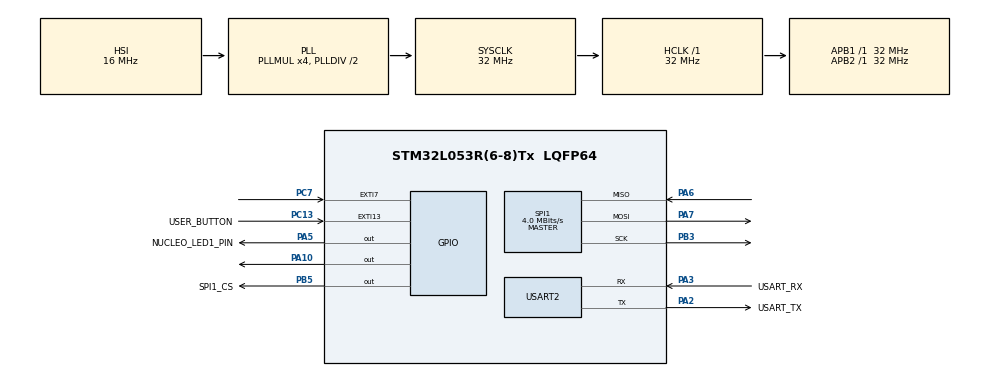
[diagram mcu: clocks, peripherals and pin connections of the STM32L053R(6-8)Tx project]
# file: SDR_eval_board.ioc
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Mcu.Family=STM32L0
Mcu.Name=STM32L053R(6-8)Tx
Mcu.Package=LQFP64
NVIC.EXTI4_15_IRQn=true\:0\:0\:false\:false\:true\:true\:true
NVIC.TIM2_IRQn=true\:0\:0\:false\:false\:true\:true\:true
PA10.GPIO_Speed=GPIO_SPEED_FREQ_HIGH
PA10.Signal=GPIO_Output
PA13.GPIO_Label=TMS
PA13.Mode=Serial_Wire
PA13.Signal=SYS_SWDIO
PA14.GPIO_Label=TCK
PA14.Mode=Serial_Wire
PA14.Signal=SYS_SWCLK
PA2.GPIO_Label=USART_TX
PA2.Mode=Asynchronous
PA2.Signal=USART2_TX
PA3.GPIO_Label=USART_RX
PA3.Mode=Asynchronous
PA3.Signal=USART2_RX
PA5.GPIO_Label=NUCLEO_LED1_PIN
PA5.Signal=GPIO_Output
PA6.Mode=Full_Duplex_Master
PA6.Signal=SPI1_MISO
PA7.Mode=Full_Duplex_Master
PA7.Signal=SPI1_MOSI
PB3.Mode=Full_Duplex_Master
PB3.Signal=SPI1_SCK
PB5.GPIO_Label=SPI1_CS
PB5.Signal=GPIO_Output
PC13.GPIO_Label=USER_BUTTON
PC13.GPIO_ModeDefaultEXTI=GPIO_MODE_IT_FALLING
PC13.Signal=GPXTI13
PC7.GPIO_ModeDefaultEXTI=GPIO_MODE_IT_FALLING
PC7.Signal=GPXTI7
ProjectManager.HeapSize=0x200
ProjectManager.StackSize=0x400
ProjectManager.TargetToolchain=STM32CubeIDE
RCC.AHBFreq_Value=32000000
RCC.APB1Freq_Value=32000000
RCC.APB1TimFreq_Value=32000000
RCC.APB2Freq_Value=32000000
RCC.APB2TimFreq_Value=32000000
RCC.HCLKFreq_Value=32000000
RCC.HSE_VALUE=8000000
RCC.HSI16_VALUE=16000000
RCC.HSI48_VALUE=48000000
RCC.HSI_VALUE=16000000
RCC.LSE_VALUE=32768
RCC.MSI_VALUE=2097000
RCC.PLLMUL=RCC_PLLMUL_4
RCC.SYSCLKFreq_VALUE=32000000
RCC.SYSCLKSource=RCC_SYSCLKSOURCE_PLLCLK
RCC.VCOOutputFreq_Value=64000000
SPI1.BaudRatePrescaler=SPI_BAUDRATEPRESCALER_8
SPI1.CalculateBaudRate=4.0 MBits/s
SPI1.Direction=SPI_DIRECTION_2LINES
SPI1.Mode=SPI_MODE_MASTER
SPI1.VirtualType=VM_MASTER
TIM2.Period=99
TIM2.Prescaler=31999
USART2.VirtualMode-Asynchronous=VM_ASYNC
VP_TIM2_VS_ClockSourceINT.Mode=Internal
board=NUCLEO-L053R8

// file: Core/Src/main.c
/* USER CODE BEGIN Header */
/**
  ******************************************************************************
  * @file           : main.c
  * @brief          : Main program body
  ******************************************************************************
  * @attention
  *
  * <h2><center>&copy; Copyright (c) 2020 STMicroelectronics.
  * All rights reserved.</center></h2>
  *
  * This software component is licensed by ST under BSD 3-Clause license,
  * the "License"; You may not use this file except in compliance with the
  * License. You may obtain a copy of the License at:
  *                        opensource.org/licenses/BSD-3-Clause
  *
  ******************************************************************************
  */
/* USER CODE END Header */
#include "main.h"

/* USER CODE BEGIN Includes */
#include "cube_hal.h"
#include "radio_shield_config.h"
#include "radio_appli.h"

#include "fsm.h"

/* USER CODE END Includes */

SPI_HandleTypeDef hspi1;

TIM_HandleTypeDef htim2;

UART_HandleTypeDef huart2;

/* USER CODE BEGIN PV */
uint32_t Rx_count;
/* USER CODE END PV */

void SystemClock_Config(void);
static void MX_GPIO_Init(void);
static void MX_USART2_UART_Init(void);
static void MX_SPI1_Init(void);
static void MX_TIM2_Init(void);
/* USER CODE BEGIN PFP */

void Clock_Enable(void);

/* USER CODE END PFP */

int main(void)
{

  /* MCU Configuration--------------------------------------------------------*/

  /* Reset of all peripherals, Initializes the Flash interface and the Systick. */
  HAL_Init();

  /* USER CODE BEGIN Init */
  Clock_Enable();

  /* USER CODE END Init */

  /* Configure the system clock */
  SystemClock_Config();

  /* Initialize all configured peripherals */
  MX_GPIO_Init();
  MX_USART2_UART_Init();
  MX_SPI1_Init();
  MX_TIM2_Init();
  /* USER CODE BEGIN 2 */
  /* Initialize LEDs*/
#if defined(X_NUCLEO_IDS01A4) || defined(X_NUCLEO_IDS01A5)
  RadioShieldLedInit(RADIO_SHIELD_LED);
#endif
  BSP_LED_Init(LED2);
  HAL_Radio_Init();
  P2P_Init();
  HAL_TIM_OC_Start_IT(&htim2,0);

  /* USER CODE END 2 */

  /* Infinite loop */
  while (1)
  {

    /* USER CODE BEGIN 3 */
	P2P_Process();
  }
  /* USER CODE END 3 */
}

void SystemClock_Config(void)
{
  RCC_OscInitTypeDef RCC_OscInitStruct = {0};
  RCC_ClkInitTypeDef RCC_ClkInitStruct = {0};
  RCC_PeriphCLKInitTypeDef PeriphClkInit = {0};

  /** Configure the main internal regulator output voltage
  */
  __HAL_PWR_VOLTAGESCALING_CONFIG(PWR_REGULATOR_VOLTAGE_SCALE1);
  /** Initializes the RCC Oscillators according to the specified parameters
  * in the RCC_OscInitTypeDef structure.
  */
  RCC_OscInitStruct.OscillatorType = RCC_OSCILLATORTYPE_HSI;
  RCC_OscInitStruct.HSIState = RCC_HSI_ON;
  RCC_OscInitStruct.HSICalibrationValue = RCC_HSICALIBRATION_DEFAULT;
  RCC_OscInitStruct.PLL.PLLState = RCC_PLL_ON;
  RCC_OscInitStruct.PLL.PLLSource = RCC_PLLSOURCE_HSI;
  RCC_OscInitStruct.PLL.PLLMUL = RCC_PLLMUL_4;
  RCC_OscInitStruct.PLL.PLLDIV = RCC_PLLDIV_2;
  if (HAL_RCC_OscConfig(&RCC_OscInitStruct) != HAL_OK)
  {
    Error_Handler();
  }
  /** Initializes the CPU, AHB and APB buses clocks
  */
  RCC_ClkInitStruct.ClockType = RCC_CLOCKTYPE_HCLK|RCC_CLOCKTYPE_SYSCLK
                              |RCC_CLOCKTYPE_PCLK1|RCC_CLOCKTYPE_PCLK2;
  RCC_ClkInitStruct.SYSCLKSource = RCC_SYSCLKSOURCE_PLLCLK;
  RCC_ClkInitStruct.AHBCLKDivider = RCC_SYSCLK_DIV1;
  RCC_ClkInitStruct.APB1CLKDivider = RCC_HCLK_DIV1;
  RCC_ClkInitStruct.APB2CLKDivider = RCC_HCLK_DIV1;

  if (HAL_RCC_ClockConfig(&RCC_ClkInitStruct, FLASH_LATENCY_1) != HAL_OK)
  {
    Error_Handler();
  }
  PeriphClkInit.PeriphClockSelection = RCC_PERIPHCLK_USART2;
  PeriphClkInit.Usart2ClockSelection = RCC_USART2CLKSOURCE_PCLK1;
  if (HAL_RCCEx_PeriphCLKConfig(&PeriphClkInit) != HAL_OK)
  {
    Error_Handler();
  }
}

static void MX_SPI1_Init(void)
{

  /* SPI1 parameter configuration*/
  hspi1.Instance = SPI1;
  hspi1.Init.Mode = SPI_MODE_MASTER;
  hspi1.Init.Direction = SPI_DIRECTION_2LINES;
  hspi1.Init.DataSize = SPI_DATASIZE_8BIT;
  hspi1.Init.CLKPolarity = SPI_POLARITY_LOW;
  hspi1.Init.CLKPhase = SPI_PHASE_1EDGE;
  hspi1.Init.NSS = SPI_NSS_SOFT;
  hspi1.Init.BaudRatePrescaler = SPI_BAUDRATEPRESCALER_8;
  hspi1.Init.FirstBit = SPI_FIRSTBIT_MSB;
  hspi1.Init.TIMode = SPI_TIMODE_DISABLE;
  hspi1.Init.CRCCalculation = SPI_CRCCALCULATION_DISABLE;
  hspi1.Init.CRCPolynomial = 7;
  if (HAL_SPI_Init(&hspi1) != HAL_OK)
  {
    Error_Handler();
  }

}

static void MX_TIM2_Init(void)
{

  TIM_ClockConfigTypeDef sClockSourceConfig = {0};
  TIM_MasterConfigTypeDef sMasterConfig = {0};

  htim2.Instance = TIM2;
  htim2.Init.Prescaler = 31999;
  htim2.Init.CounterMode = TIM_COUNTERMODE_UP;
  htim2.Init.Period = 99;
  htim2.Init.ClockDivision = TIM_CLOCKDIVISION_DIV1;
  htim2.Init.AutoReloadPreload = TIM_AUTORELOAD_PRELOAD_DISABLE;
  if (HAL_TIM_Base_Init(&htim2) != HAL_OK)
  {
    Error_Handler();
  }
  sClockSourceConfig.ClockSource = TIM_CLOCKSOURCE_INTERNAL;
  if (HAL_TIM_ConfigClockSource(&htim2, &sClockSourceConfig) != HAL_OK)
  {
    Error_Handler();
  }
  sMasterConfig.MasterOutputTrigger = TIM_TRGO_RESET;
  sMasterConfig.MasterSlaveMode = TIM_MASTERSLAVEMODE_DISABLE;
  if (HAL_TIMEx_MasterConfigSynchronization(&htim2, &sMasterConfig) != HAL_OK)
  {
    Error_Handler();
  }

}

static void MX_USART2_UART_Init(void)
{

  huart2.Instance = USART2;
  huart2.Init.BaudRate = 115200;
  huart2.Init.WordLength = UART_WORDLENGTH_8B;
  huart2.Init.StopBits = UART_STOPBITS_1;
  huart2.Init.Parity = UART_PARITY_NONE;
  huart2.Init.Mode = UART_MODE_TX_RX;
  huart2.Init.HwFlowCtl = UART_HWCONTROL_NONE;
  huart2.Init.OverSampling = UART_OVERSAMPLING_16;
  huart2.Init.OneBitSampling = UART_ONE_BIT_SAMPLE_DISABLE;
  huart2.AdvancedInit.AdvFeatureInit = UART_ADVFEATURE_NO_INIT;
  if (HAL_UART_Init(&huart2) != HAL_OK)
  {
    Error_Handler();
  }

}

static void MX_GPIO_Init(void)
{
  GPIO_InitTypeDef GPIO_InitStruct = {0};

  /* GPIO Ports Clock Enable */
  __HAL_RCC_GPIOC_CLK_ENABLE();
  __HAL_RCC_GPIOA_CLK_ENABLE();
  __HAL_RCC_GPIOB_CLK_ENABLE();

  /*Configure GPIO pin Output Level */
  HAL_GPIO_WritePin(GPIOA, NUCLEO_LED1_PIN_Pin|GPIO_PIN_10, GPIO_PIN_RESET);

  /*Configure GPIO pin Output Level */
  HAL_GPIO_WritePin(SPI1_CS_GPIO_Port, SPI1_CS_Pin, GPIO_PIN_RESET);

  /*Configure GPIO pins : USER_BUTTON_Pin PC7 */
  GPIO_InitStruct.Pin = USER_BUTTON_Pin|GPIO_PIN_7;
  GPIO_InitStruct.Mode = GPIO_MODE_IT_FALLING;
  GPIO_InitStruct.Pull = GPIO_NOPULL;
  HAL_GPIO_Init(GPIOC, &GPIO_InitStruct);

  /*Configure GPIO pin : NUCLEO_LED1_PIN_Pin */
  GPIO_InitStruct.Pin = NUCLEO_LED1_PIN_Pin;
  GPIO_InitStruct.Mode = GPIO_MODE_OUTPUT_PP;
  GPIO_InitStruct.Pull = GPIO_NOPULL;
  GPIO_InitStruct.Speed = GPIO_SPEED_FREQ_LOW;
  HAL_GPIO_Init(NUCLEO_LED1_PIN_GPIO_Port, &GPIO_InitStruct);

  /*Configure GPIO pin : PA10 */
  GPIO_InitStruct.Pin = GPIO_PIN_10;
  GPIO_InitStruct.Mode = GPIO_MODE_OUTPUT_PP;
  GPIO_InitStruct.Pull = GPIO_NOPULL;
  GPIO_InitStruct.Speed = GPIO_SPEED_FREQ_HIGH;
  HAL_GPIO_Init(GPIOA, &GPIO_InitStruct);

  /*Configure GPIO pin : SPI1_CS_Pin */
  GPIO_InitStruct.Pin = SPI1_CS_Pin;
  GPIO_InitStruct.Mode = GPIO_MODE_OUTPUT_PP;
  GPIO_InitStruct.Pull = GPIO_NOPULL;
  GPIO_InitStruct.Speed = GPIO_SPEED_FREQ_LOW;
  HAL_GPIO_Init(SPI1_CS_GPIO_Port, &GPIO_InitStruct);

  /* EXTI interrupt init*/
  HAL_NVIC_SetPriority(EXTI4_15_IRQn, 0, 0);
  HAL_NVIC_EnableIRQ(EXTI4_15_IRQn);

}

/* USER CODE BEGIN 4 */

void Clock_Enable(void)
{
  __GPIOA_CLK_ENABLE();
  __GPIOB_CLK_ENABLE();
  __GPIOC_CLK_ENABLE();
  __GPIOD_CLK_ENABLE();
}

void handle_TIM2(void)
{
	Rx_count++;
}

FlagStatus check_Rx_count(void)
{
	FlagStatus retval = RESET;
	if(Rx_count >= 100) //Debug value 100 for 10 secs. Final value 10000 for 10 secs.
	{
		retval = SET;
		Rx_count = 0;
	}
	return retval;
}

void reset_RX_count(void)
{
	Rx_count = 0;
}
/* USER CODE END 4 */

void Error_Handler(void)
{
}

/************************ (C) COPYRIGHT STMicroelectronics *****END OF FILE****/
